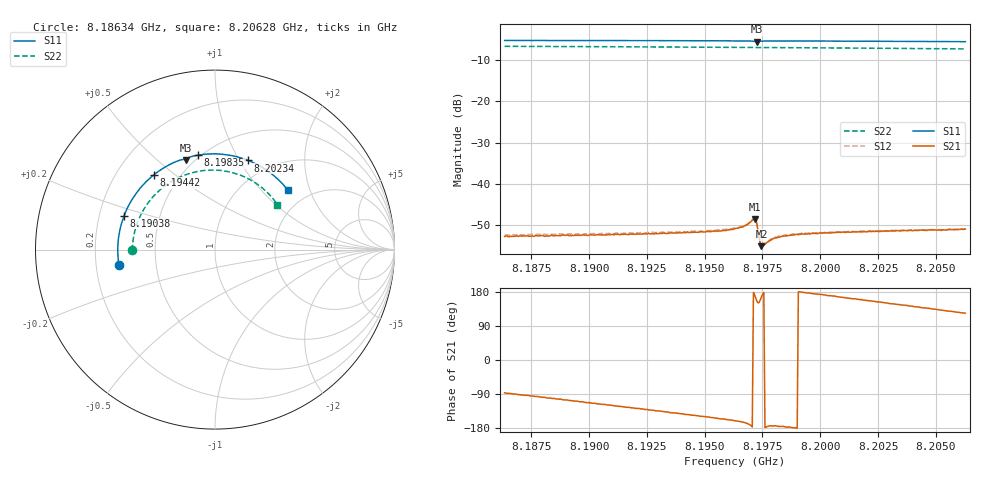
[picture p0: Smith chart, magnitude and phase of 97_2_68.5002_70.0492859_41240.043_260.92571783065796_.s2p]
#  HZ  S  RI  R  50.00
! Rohde & Schwarz Vector Network Analyzer
! Rohde-Schwarz,ZNB20-2Port,1311601062101988,3.16
! Created: UTC 3/20/2024, 5:08:03 PM
! freq[Hz]  re:S11  im:S11  re:S21  im:S21  re:S12  im:S12  re:S22  im:S22
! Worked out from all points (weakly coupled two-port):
!   401 points, 8.18634 GHz to 8.20628 GHz, reference 50 ohm
!   highest |S21| = -48.47 dB at 8.19716 GHz (marker M1); lowest = -55.1 dB at 8.19746 GHz (marker M2)
!   lowest |S11| = -5.6 dB at 8.19726 GHz (marker M3), VSWR 3.20, Z = 22.7 + j31.1 ohm
!   |S11| at or under -10 dB: nowhere
!   |S22| runs from -7.4 to -6.7 dB; largest |S21 - S12| = 0.00019
!   S11 on the Smith chart (normalised r, x): 8.18634 GHz: 0.30, -0.07; 8.19038 GHz: 0.31, +0.16; 8.19442 GHz: 0.36, +0.42; 8.19835 GHz: 0.48, +0.72; 8.20234 GHz: 0.79, +1.09; 8.20628 GHz: 1.57, +1.43
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8.186345e9  -0.535 -0.0882  0.000145 -0.0023  9.91e-05 -0.0024  -0.4604 -0.00451
8.187989e9  -0.5411 0.0266  -0.000335 -0.00235  -0.000424 -0.00243  -0.4506 0.0863
8.189684e9  -0.5215 0.1434  -0.000821 -0.00226  -0.000897 -0.0023  -0.4218 0.1758
8.190381e9  -0.5063 0.1898  -0.00106 -0.00219  -0.0011 -0.00221  -0.4045 0.2104
8.193022e9  -0.4117 0.3481  -0.00177 -0.00178  -0.00185 -0.00178  -0.3143 0.3259
8.194418e9  -0.3411 0.4164  -0.00213 -0.00145  -0.00224 -0.00147  -0.2526 0.3733
8.195664e9  -0.2683 0.4655  -0.00243 -0.00114  -0.00252 -0.00112  -0.1909 0.4063
8.196311e9  -0.2267 0.4861  -0.00269 -0.000966  -0.0028 -0.000885  -0.1569 0.4195
8.19671e9  -0.1994 0.4968  -0.003 -0.0008  -0.00306 -0.00068  -0.1354 0.4261
8.197059e9  -0.1729 0.5024  -0.00361 -0.000202  -0.00369 -4.6e-05  -0.1165 0.4311
8.197159e9  -0.1652 0.5006  -0.00374 0.000513  -0.00379 0.000682  -0.1109 0.4321
8.197208e9  -0.1633 0.4987  -0.00349 0.001  -0.00357 0.00118  -0.1082 0.4326
8.197258e9  -0.163 0.4976  -0.00295 0.00137  -0.00296 0.00153  -0.1055 0.4333
8.197358e9  -0.163 0.5016  -0.00194 0.00101  -0.0019 0.00114  -0.1003 0.4345
8.197457e9  -0.1578 0.5075  -0.00172 0.000402  -0.00173 0.000472  -0.0947 0.4357
8.197557e9  -0.1506 0.5117  -0.0018 6.32e-05  -0.00184 0.000119  -0.0892 0.4368
8.197956e9  -0.1214 0.521  -0.00216 -0.000218  -0.0022 -0.000125  -0.0668 0.44
8.198354e9  -0.0931 0.5267  -0.00232 -0.000192  -0.00235 -5.43e-05  -0.0444 0.4423
8.19965e9  -0.00101 0.5335  -0.00252 0.000213  -0.00252 0.000317  0.0292 0.4409
8.202341e9  0.1847 0.4969  -0.0024 0.00112  -0.00236 0.00123  0.1765 0.3997
8.202989e9  0.2265 0.4783  -0.0023 0.0014  -0.00231 0.00146  0.2094 0.3817
8.206278e9  0.4056 0.3318  -0.00155 0.00238  -0.00149 0.00243  0.3473 0.2507
